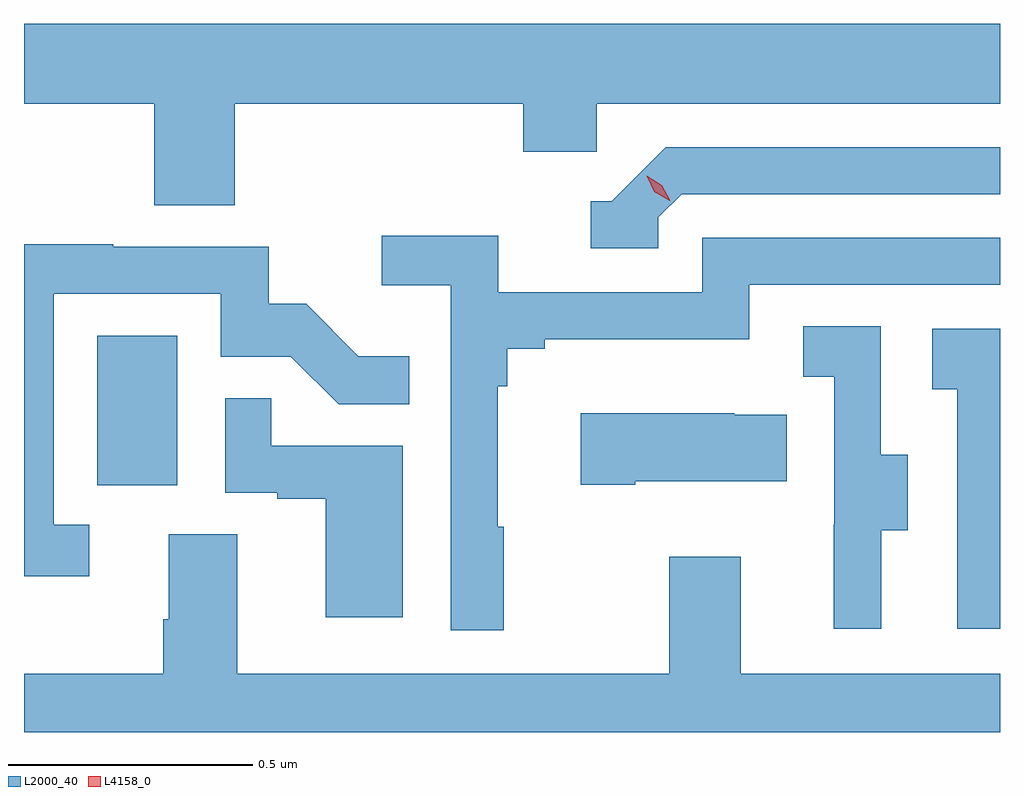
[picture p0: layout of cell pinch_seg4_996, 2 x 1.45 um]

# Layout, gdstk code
import gdstk
lib = gdstk.Library(unit=1e-6, precision=1e-09)
def R(c, l, rs):  # rectangles x0, y0, x1, y1
    for r in rs: c.add(gdstk.rectangle(r[:2], r[2:], *l))
def P(c, l, *ps):  # polygons
    for p in ps: c.add(gdstk.Polygon(p, *l))
L2000_40 = (2000, 40)
L4158_0 = (4158, 0)

pinch_seg4_996 = lib.new_cell('pinch_seg4_996')
R(pinch_seg4_996, L2000_40, [(876.164,780.054,876.328,780.361)])
P(pinch_seg4_996, L2000_40, [(876.446,780.836),(877.037,780.836),(877.037,780.738),(877.188,780.738),(877.188,780.836),(878.014,780.836),(878.014,781),(876.014,781),(876.014,780.836),(876.281,780.836),(876.281,780.628),(876.446,780.628)],
  [(877.314,780.603),(877.362,780.651),(878.014,780.651),(878.014,780.747),(877.329,780.747),(877.218,780.636),(877.175,780.636),(877.175,780.54),(877.314,780.54)],
  [(876.997,779.969),(876.985,779.969),(876.985,780.257),(877.004,780.257),(877.004,780.334),(877.081,780.334),(877.081,780.353),(877.5,780.353),(877.5,780.465),(878.014,780.465),(878.014,780.561),(877.404,780.561),(877.404,780.45),(876.986,780.45),(876.986,780.566),(876.747,780.566),(876.747,780.464),(876.888,780.464),(876.888,779.757),(876.997,779.757)],
  [(876.148,779.973),(876.075,779.973),(876.075,780.447),(876.417,780.447),(876.417,780.318),(876.561,780.318),(876.659,780.22),(876.803,780.22),(876.803,780.319),(876.699,780.319),(876.592,780.426),(876.516,780.426),(876.516,780.543),(876.197,780.543),(876.197,780.548),(876.014,780.548),(876.014,779.868),(876.148,779.868)],
  [(877.771,779.962),(877.825,779.962),(877.825,780.117),(877.77,780.117),(877.77,780.38),(877.611,780.38),(877.611,780.277),(877.674,780.277),(877.674,779.973),(877.673,779.973),(877.673,779.76),(877.771,779.76)],
  [(878.014,780.375),(877.875,780.375),(877.875,780.251),(877.926,780.251),(877.926,779.76),(878.014,779.76)],
  [(876.79,780.135),(876.521,780.135),(876.521,780.233),(876.426,780.233),(876.426,780.039),(876.533,780.039),(876.533,780.027),(876.632,780.027),(876.632,779.784),(876.79,779.784)],
  [(877.267,780.062),(877.577,780.062),(877.577,780.199),(877.469,780.199),(877.469,780.202),(877.155,780.202),(877.155,780.055),(877.267,780.055)],
  [(878.014,779.668),(877.483,779.668),(877.483,779.908),(877.336,779.908),(877.336,779.668),(876.451,779.668),(876.451,779.954),(876.311,779.954),(876.311,779.78),(876.299,779.78),(876.299,779.668),(876.014,779.668),(876.014,779.548),(878.014,779.548)])
P(pinch_seg4_996, L4158_0, [(877.337,780.637),(877.306,780.656),(877.29,780.688),(877.29,780.688),(877.29,780.688),(877.321,780.669),(877.338,780.637),(877.338,780.637)])

lib.write_gds('pinch_seg4_996.gds')
